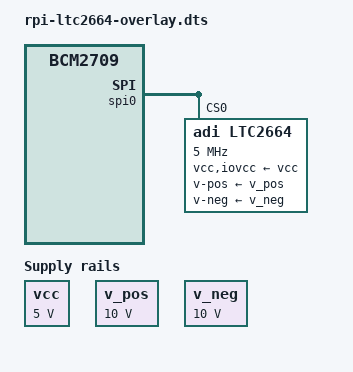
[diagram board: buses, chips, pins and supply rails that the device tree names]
// SPDX-License-Identifier: GPL-2.0
/*
 * Overlay for the 4 channel LTC2664 DAC
 *
 * Copyright 2024 Analog Devices Inc.
 */

/dts-v1/;
/plugin/;

#include <dt-bindings/gpio/gpio.h>

/ {
	compatible = "brcm,bcm2835", "brcm,bcm2708", "brcm,bcm2709";
};

&{/} {
	vcc: fixedregulator@1 {
		compatible = "regulator-fixed";
		regulator-name = "vcc-supply";
		regulator-min-microvolt = <5000000>;
		regulator-max-microvolt = <5000000>;
	};

	v_pos: fixedregulator@2 {
		compatible = "regulator-fixed";
		regulator-name = "v-pos-supply";
		regulator-min-microvolt = <10000000>;
		regulator-max-microvolt = <10000000>;
	};

	v_neg: fixedregulator@3 {
		compatible = "regulator-fixed";
		regulator-name = "v-neg-supply";
		regulator-min-microvolt = <10000000>;
		regulator-max-microvolt = <10000000>;
	};
};

&spidev0 {
	status = "disabled";
};

&spidev1 {
	status = "disabled";
};

&spi0 {
	#address-cells = <1>;
	#size-cells = <0>;
	status = "okay";

	ltc2664: ltc2664@0 {
		compatible = "adi,ltc2664";
		reg = <0>;
		spi-max-frequency = <5000000>;

		#address-cells = <1>;
		#size-cells = <0>;

		vcc-supply = <&vcc>;
		iovcc-supply = <&vcc>;
		v-pos-supply = <&v_pos>;
		v-neg-supply = <&v_neg>;

		channel@0 {
			reg = <0>;
			output-range-microvolt = <(-10000000) 10000000>;
		};

		channel@1 {
			reg = <1>;
			adi,toggle-mode;
			output-range-microvolt = <(-10000000) 10000000>;
		};

		channel@2 {
			reg = <2>;
			output-range-microvolt = <(-10000000) 10000000>;
		};

		channel@3 {
			reg = <3>;
			output-range-microvolt = <(-10000000) 10000000>;
		};
	};
};

/ {
	__overrides__ {
		cs_pin = <&ltc2664>,"reg:0";
	};
};
